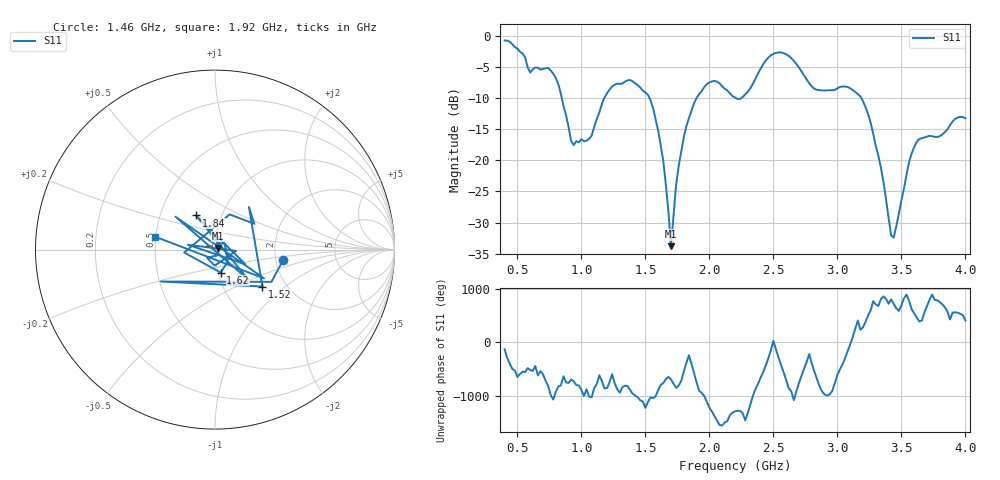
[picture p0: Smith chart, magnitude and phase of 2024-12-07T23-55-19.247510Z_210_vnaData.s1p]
!Created with skrf (http://scikit-rf.org).
# Hz S RI R 50.0
!freq ReS11 ImS11
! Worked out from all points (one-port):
!   181 points, 400 MHz to 4 GHz, reference 50 ohm
!   lowest |S11| = -33.8 dB at 1.7 GHz (marker M1), VSWR 1.04, Z = 51.9 + j0.96 ohm
!   |S11| at or under -10 dB: 846.8 MHz to 1.179 GHz (332.1 MHz wide, 32.8 % of centre); 1.532 GHz to 1.899 GHz (367.9 MHz wide, 21.4 % of centre); 3.187 GHz to end of sweep (the widest 3 of 4)
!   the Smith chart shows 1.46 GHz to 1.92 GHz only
!   S11 on the Smith chart (normalised r, x): 1.46 GHz: 2.19, -0.31; 1.52 GHz: 1.52, -0.71; 1.62 GHz: 1.03, -0.27; 1.84 GHz: 0.76, +0.30; 1.92 GHz: 0.50, +0.08
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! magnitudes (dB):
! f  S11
! 400 MHz  -0.8
! 600 MHz  -5.9
! 760 MHz  -5.6
! 860 MHz  -11.3
! 940 MHz  -17.5
! 1.04 GHz  -16.8
! 1.2 GHz  -9.2
! 1.3 GHz  -7.7
! 1.46 GHz  -8.3
! 1.52 GHz  -9.5
! 1.62 GHz  -17.6
! 1.7 GHz  -33.8
! 1.76 GHz  -20.9
! 1.84 GHz  -13.2
! 1.92 GHz  -9.4
! 2.04 GHz  -7.3
! 2.2 GHz  -9.9
! 2.48 GHz  -3.1
! 2.66 GHz  -4.1
! 2.82 GHz  -8.5
! 3.1 GHz  -8.4
! 3.26 GHz  -14.0
! 3.34 GHz  -21.2
! 3.42 GHz  -32.0
! 3.44 GHz  -32.4
! 3.56 GHz  -20.3
! 3.64 GHz  -16.6
! 4 GHz  -13.3
